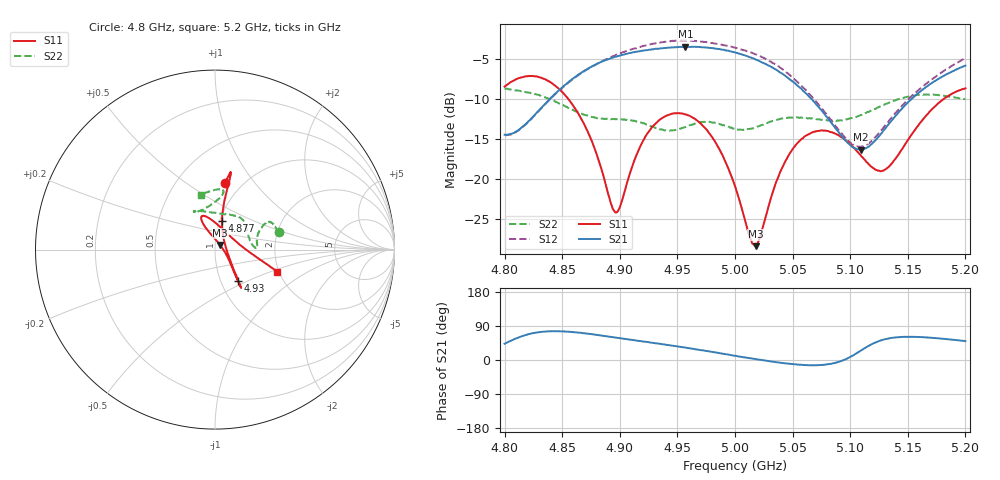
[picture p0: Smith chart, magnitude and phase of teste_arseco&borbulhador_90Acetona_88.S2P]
! Network Analyzer HP8722D
! Hewlett-Packard
! Data name: Linha & Wilkinson
! Saver's name: Rodrigo Anjos
! Comments: Teste da utilização de aquisição
! continua pelo VNA HP8722D
! Time and date: 17/4/2025 11:47
!  Frequency  S11  S21  S12  S22
# HZ  S  MA R 50
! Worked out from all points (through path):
!   401 points, 4.8 GHz to 5.2 GHz, reference 50 ohm
!   highest |S21| = -3.45 dB at 4.957 GHz (marker M1); lowest = -16.4 dB at 5.109 GHz (marker M2)
!   lowest |S11| = -28.4 dB at 5.018 GHz (marker M3), VSWR 1.08, Z = 52.8 + j2.68 ohm
!   |S11| at or under -10 dB: 4.855 GHz to 5.181 GHz (325.9 MHz wide, 6.49 % of centre)
!   |S22| runs from -14.0 to -8.7 dB; largest |S21 - S12| = 0.24
!   S11 on the Smith chart (normalised r, x): 4.8 GHz: 0.83, +0.72; 4.877 GHz: 1.03, +0.33; 4.93 GHz: 1.21, -0.45; 5.2 GHz: 1.96, -0.56
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4.8e9  0.3778 81.5  0.189 42.9  0.1885 3.5  0.3672 15.2
4.834e9  0.423 78.2  0.2887 74.7  0.2872 38.5  0.3252 27.9
4.867e9  0.2339 78.8  0.4637 71.3  0.4617 41.5  0.2557 20.1
4.877e9  0.1629 75.8  0.5107 67.5  0.5095 40.4  0.2438 15.6
4.892e9  0.07102 44.7  0.5684 61.3  0.5762 38.1  0.2359 8.5
4.897e9  0.0615 13.3  0.5822 58.9  0.5985 37.2  0.2363 6.7
4.916e9  0.1499 -46.7  0.6278 50.5  0.6653 33.1  0.2271 2.5
4.93e9  0.2186 -53.4  0.65 44.8  0.7017 28.7  0.2101 7.2
4.934e9  0.2324 -54.3  0.6537 43.0  0.7149 27.6  0.2057 10.6
4.957e9  0.253 -55.4  0.6723 32.7  0.7348 18.8  0.2109 34.8
4.98e9  0.1831 -51.5  0.6583 21.5  0.7085 10.1  0.2253 52.9
5e9  0.0902 -34.3  0.6192 10.9  0.6631 2.9  0.2061 73.5
5.013e9  0.04269 7.2  0.5766 4.7  0.6208 -1.8  0.2055 91.5
5.018e9  0.0379 42.0  0.5577 2.4  0.6012 -3.7  0.2105 97.7
5.042e9  0.122 111.9  0.4496 -8.0  0.4802 -11.7  0.2404 115.5
5.067e9  0.1953 113.2  0.313 -13.8  0.3248 -13.6  0.2395 118.2
5.088e9  0.1905 104.9  0.204 -6.7  0.2111 -2.6  0.2303 109.1
5.109e9  0.1409 84.6  0.1522 24.4  0.1592 31.6  0.2507 95.4
5.124e9  0.1126 52.9  0.1818 49.0  0.1901 57.8  0.2798 86.5
5.134e9  0.12 26.6  0.2226 57.2  0.2326 67.6  0.3002 83.0
5.171e9  0.2729 -13.9  0.3988 58.5  0.4201 76.4  0.3372 86.5
5.2e9  0.3686 -19.5  0.5114 49.8  0.57 73.6  0.3154 104.4
